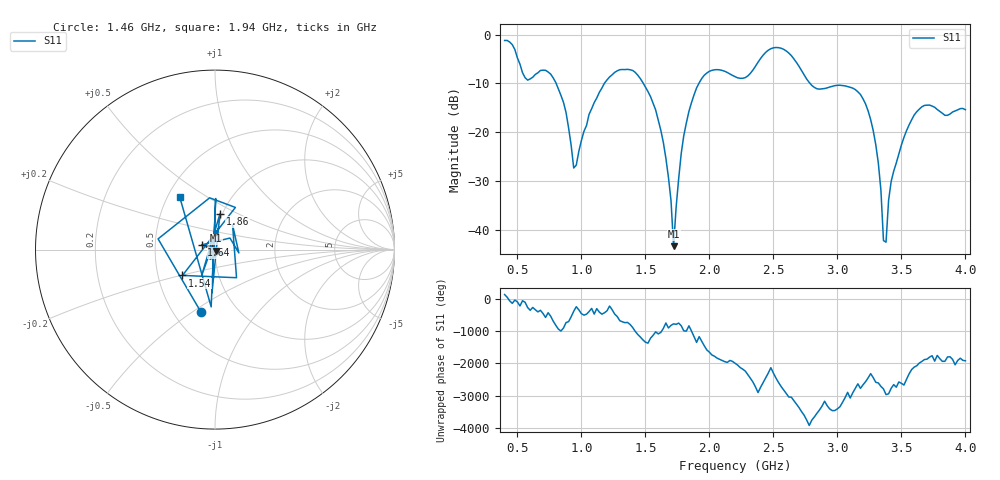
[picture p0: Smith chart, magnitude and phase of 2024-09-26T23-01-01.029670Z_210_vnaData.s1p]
!Created with skrf (http://scikit-rf.org).
# Hz S RI R 50.0
!freq ReS11 ImS11
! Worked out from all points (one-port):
!   181 points, 400 MHz to 4 GHz, reference 50 ohm
!   lowest |S11| = -43.3 dB at 1.72 GHz (marker M1), VSWR 1.01, Z = 50.4 - j0.568 ohm
!   |S11| at or under -10 dB: 802.6 MHz to 1.179 GHz (376.6 MHz wide, 38 % of centre); 1.484 GHz to 1.918 GHz (434.3 MHz wide, 25.5 % of centre); 2.786 GHz to end of sweep
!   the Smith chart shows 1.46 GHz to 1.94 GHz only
!   S11 on the Smith chart (normalised r, x): 1.46 GHz: 0.68, -0.54; 1.54 GHz: 0.67, -0.20; 1.64 GHz: 0.86, +0.05; 1.86 GHz: 0.97, +0.40; 1.94 GHz: 0.58, +0.39
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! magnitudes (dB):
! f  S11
! 400 MHz  -1.2
! 560 MHz  -8.8
! 720 MHz  -7.3
! 860 MHz  -13.9
! 940 MHz  -27.3
! 1.1 GHz  -13.9
! 1.3 GHz  -7.2
! 1.46 GHz  -9.0
! 1.54 GHz  -12.7
! 1.64 GHz  -22.1
! 1.7 GHz  -34.0
! 1.72 GHz  -43.3
! 1.76 GHz  -29.5
! 1.86 GHz  -13.9
! 1.94 GHz  -9.0
! 2.2 GHz  -8.6
! 2.5 GHz  -2.7
! 2.66 GHz  -5.0
! 2.84 GHz  -11.1
! 3.1 GHz  -10.8
! 3.28 GHz  -19.7
! 3.34 GHz  -31.9
! 3.36 GHz  -42.2
! 3.38 GHz  -42.5
! 3.42 GHz  -30.1
! 3.56 GHz  -18.5
! 3.68 GHz  -14.5
! 4 GHz  -15.4
